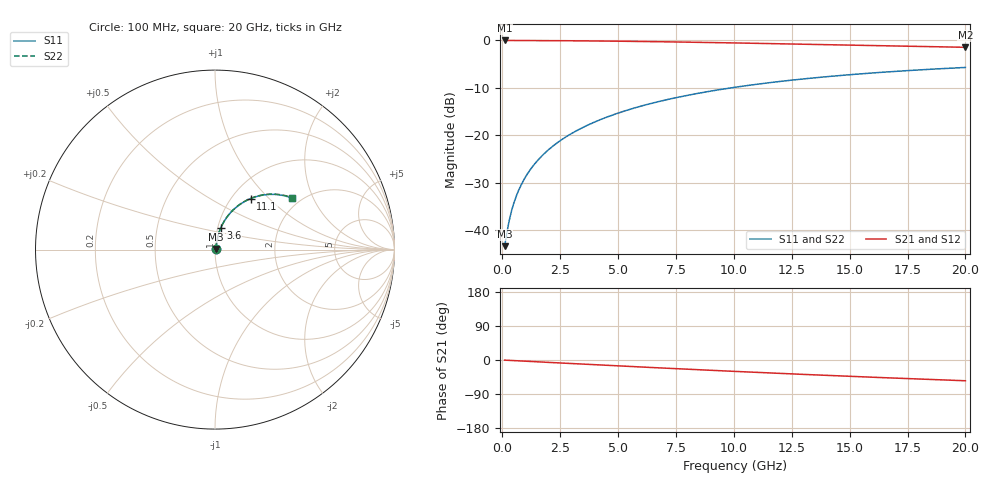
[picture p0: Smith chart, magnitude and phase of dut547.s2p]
! Touchstone file exported from HFSS 2026.1.0
!  File:  C:/ffzhzh/LocalFiles/Ansys_Project_Files/temp_train_BSMRDL_547_1783015049_46388.aedt
!  Generated:  01:59:30 AM Jul  3, 2026
!  Design:  BSMRDL
!  Project:  temp_train_BSMRDL_547_1783015049_46388
! Variables:
!  h_bsmrdl = 2.74um
!  h_ox = 20um
!  h_rdl = 5um
!  h_sub = 80um
!  h_tmrdl = 5um
!  h_tsv = 80um
!  h_via = 3um
!  l_bsmrdl = 808.34um
!  l_sub = 1208.34um
!  l_tmrdl = 200um
!  m_sub = 200um
!  pitch = 49.52um
!  r_tsv = 6um
!  s_tmrdl = 10um
!  w_bsmrdl = 18.89um
!  w_sub = 500um
!  w_tmrdl = 12um
!  x_tsv_center1 = 206um
!  x_tsv_center2 = 1033.23um
!  x_tsv_center3 = 1245.23um
!  x_tsv_center4 = 2072.46um
!  x_tsv_center5 = 2284.46um
!  x_tsv_center6 = 3111.69um
# GHz S MA R 50.000000
! Terminal data exported
! Port[1] = BSM_RDL1_1_T1
! Port[2] = BSM_RDL1_1_T2
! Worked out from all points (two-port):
!   200 points, 100 MHz to 20 GHz, reference 50 ohm
!   highest |S21| = -0.05 dB at 100 MHz (marker M1); lowest = -1.5 dB at 20 GHz (marker M2)
!   |S21| within 3 dB of the highest: start of sweep to end of sweep
!   lowest |S11| = -43.3 dB at 100 MHz (marker M3), VSWR 1.01, Z = 50.6 + j0.381 ohm
!   |S11| at or under -10 dB: start of sweep to 9.907 GHz
!   |S22| runs from -43.3 to -5.7 dB; largest |S21 - S12| = 3e-14
!   S11 on the Smith chart (normalised r, x): 100 MHz: 1.01, +0.01; 3.6 GHz: 1.03, +0.25; 11.1 GHz: 1.22, +0.79; 20 GHz: 1.81, +1.41
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0.1  0.006826 33.4  0.9943 -0.3  0.9943 -0.3  0.006826 33.4
! Gamma 0 0 0 0
! Port Impedance 50 0 50 0
0.2  0.009519 51.7  0.9942 -0.7  0.9942 -0.7  0.009518 51.7
0.3  0.01271 60.9  0.9939 -1.0  0.9939 -1.0  0.01271 60.9
0.4  0.01605 66.0  0.9937 -1.3  0.9937 -1.3  0.01604 66.0
0.5  0.01942 69.3  0.9935 -1.6  0.9935 -1.6  0.01942 69.3
0.6  0.0228 71.5  0.9933 -1.9  0.9933 -1.9  0.0228 71.5
0.8  0.02959 74.3  0.9928 -2.6  0.9928 -2.6  0.02959 74.3
1.1  0.03981 76.4  0.9923 -3.5  0.9923 -3.5  0.03981 76.4
1.3  0.04665 77.2  0.9919 -4.1  0.9919 -4.1  0.04665 77.2
1.6  0.05694 77.7  0.9912 -5.0  0.9912 -5.0  0.05694 77.7
2.1  0.07409 77.7  0.9899 -6.6  0.9899 -6.6  0.07409 77.7
2.7  0.0946 76.9  0.988 -8.5  0.988 -8.5  0.0946 77.0
3.5  0.1217 75.3  0.9847 -10.9  0.9847 -10.9  0.1217 75.4
3.6  0.125 75.1  0.9842 -11.2  0.9842 -11.2  0.125 75.2
5  0.1712 71.6  0.9767 -15.5  0.9767 -15.5  0.1712 71.7
6.8  0.2277 66.7  0.9643 -20.8  0.9643 -20.8  0.2277 66.8
8.3  0.272 62.6  0.9521 -25.2  0.9521 -25.2  0.272 62.7
10.1  0.3213 57.7  0.9359 -30.2  0.9359 -30.2  0.3213 57.9
11.1  0.3468 55.0  0.9264 -33.0  0.9264 -33.0  0.3468 55.3
13.4  0.4005 49.1  0.9039 -39.0  0.9039 -39.0  0.4004 49.4
16.7  0.4654 41.1  0.872 -47.2  0.872 -47.2  0.4654 41.4
20  0.5172 33.6  0.8424 -54.8  0.8424 -54.8  0.5171 34.0
